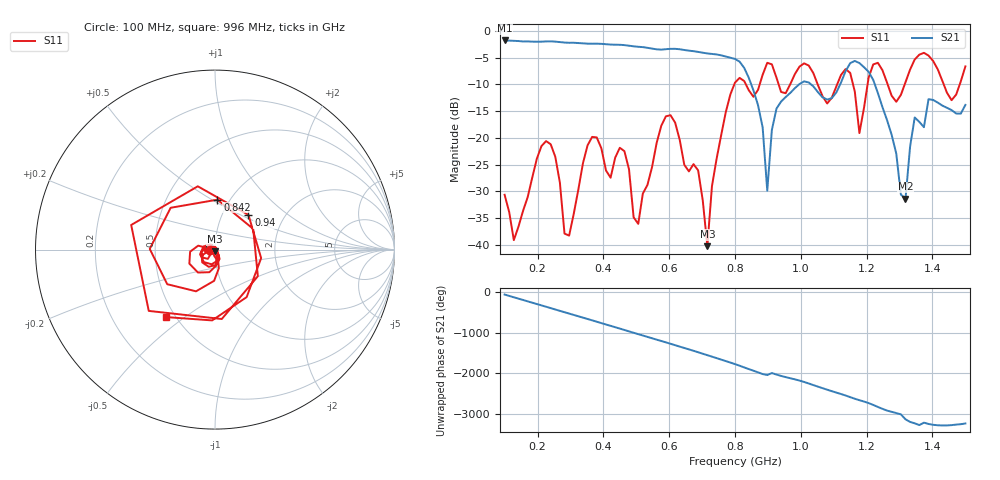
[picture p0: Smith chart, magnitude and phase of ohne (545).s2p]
! NanoVNA-App
! Date: 2025-09-25 14:25:02
! Start: 100MHz Stop: 1,5GHz Points: 101
! S-Parameter data: F S11 S21 S12 S22
# Hz S RI R 50
!  Frequency  S11_Real  S11_Imag  S21_Real  S21_Imag  S12_Real  S12_Imag  S22_Real  S22_Imag
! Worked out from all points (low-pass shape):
!   101 points, 100 MHz to 1.5 GHz, reference 50 ohm
!   highest |S21| = -1.79 dB at 100 MHz (marker M1); lowest = -31.3 dB at 1.318 GHz (marker M2)
!   |S21| within 3 dB of the highest: start of sweep to 771.5 MHz
!   lowest |S11| = -40.2 dB at 716 MHz (marker M3), VSWR 1.02, Z = 49.8 - j0.939 ohm
!   |S11| at or under -10 dB: start of sweep to 797.9 MHz; 833 MHz to 875.1 MHz (42.06 MHz wide, 4.92 % of centre); 1.051 GHz to 1.11 GHz (59.29 MHz wide, 5.49 % of centre) (the widest 3 of 7)
!   S12 and S22 are empty: the file has one direction only
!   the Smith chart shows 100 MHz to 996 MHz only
!   S11 on the Smith chart (normalised r, x): 100 MHz: 0.94, -0.01; 842 MHz: 0.88, +0.53; 940 MHz: 1.33, +0.55; 996 MHz: 0.45, -0.43
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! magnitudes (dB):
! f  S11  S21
! 100 MHz  -30.6  -1.8
! 128 MHz  -39.1  -1.9
! 226 MHz  -20.6  -2.0
! 296 MHz  -38.3  -2.2
! 338 MHz  -24.7  -2.3
! 464 MHz  -22.5  -2.7
! 506 MHz  -36.1  -3.0
! 576 MHz  -17.7  -3.5
! 688 MHz  -26.1  -3.9
! 716 MHz  -40.2  -4.2
! 800 MHz  -9.7  -5.2
! 842 MHz  -11.1  -8.8
! 898 MHz  -6.0  -29.9
! 940 MHz  -11.4  -13.2
! 996 MHz  -6.7  -9.9
! 1.038 GHz  -7.9  -10.4
! 1.178 GHz  -19.1  -6.0
! 1.22 GHz  -6.3  -9.2
! 1.276 GHz  -12.1  -19.4
! 1.318 GHz  -9.6  -31.3
! 1.346 GHz  -5.4  -16.2
! 1.5 GHz  -6.6  -13.8
